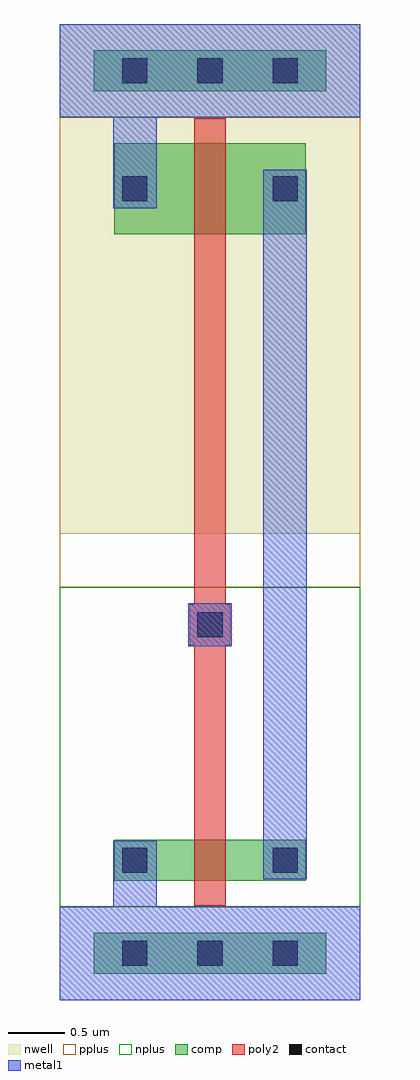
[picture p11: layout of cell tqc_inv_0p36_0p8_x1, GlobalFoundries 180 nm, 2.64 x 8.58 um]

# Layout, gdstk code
import gdstk
lib = gdstk.Library(unit=1e-6, precision=1e-09)
def R(c, l, rs):  # rectangles x0, y0, x1, y1
    for r in rs: c.add(gdstk.rectangle(r[:2], r[2:], *l))
def A(c, l, x, y, w, h, nx, ny, dx, dy):  # array of equal rectangles
    R(c, l, [(x+i*dx, y+j*dy, x+i*dx+w, y+j*dy+h) for i in range(nx) for j in range(ny)])
nwell = (21, 0)
comp = (22, 0)
poly2 = (30, 0)
pplus = (31, 0)
nplus = (32, 0)
contact = (33, 0)
metal1 = (34, 0)

tqc_inv_0p36_0p8_x1 = lib.new_cell('tqc_inv_0p36_0p8_x1')
R(tqc_inv_0p36_0p8_x1, nwell, [(0,4.1,2.64,8.58)])
R(tqc_inv_0p36_0p8_x1, comp, [(0.3,0.23,2.34,0.59), (0.48,1.05,2.16,1.41), (0.48,6.73,2.16,7.53), (0.3,7.99,2.34,8.35)])
R(tqc_inv_0p36_0p8_x1, poly2, [(1.18,0.83,1.46,7.75), (1.14,3.12,1.5,3.48)])
R(tqc_inv_0p36_0p8_x1, pplus, [(0,0,2.64,0.82), (0,3.63,2.64,7.76)])
R(tqc_inv_0p36_0p8_x1, nplus, [(0,0.82,2.64,3.63), (0,7.76,2.64,8.58)])
A(tqc_inv_0p36_0p8_x1, contact, 0.55, 0.3, 0.22, 0.22, 3, 2, 0.66, 7.76)
R(tqc_inv_0p36_0p8_x1, contact, [(0.55,1.12,0.77,1.34), (1.87,1.12,2.09,1.34), (1.21,3.19,1.43,3.41), (0.55,7.02,0.77,7.24), (1.87,7.02,2.09,7.24)])
R(tqc_inv_0p36_0p8_x1, metal1, [(0,0,2.64,0.82), (0.47,0,0.85,1.4), (1.79,1.06,2.17,1.4), (1.79,1.3,2.17,4.15), (1.13,3.11,1.51,3.49), (1.79,3.77,2.17,7.06), (0.47,6.96,0.85,8.58), (1.79,6.96,2.17,7.3), (0,7.76,2.64,8.58)])

lib.write_gds('tqc_inv_0p36_0p8_x1.gds')
